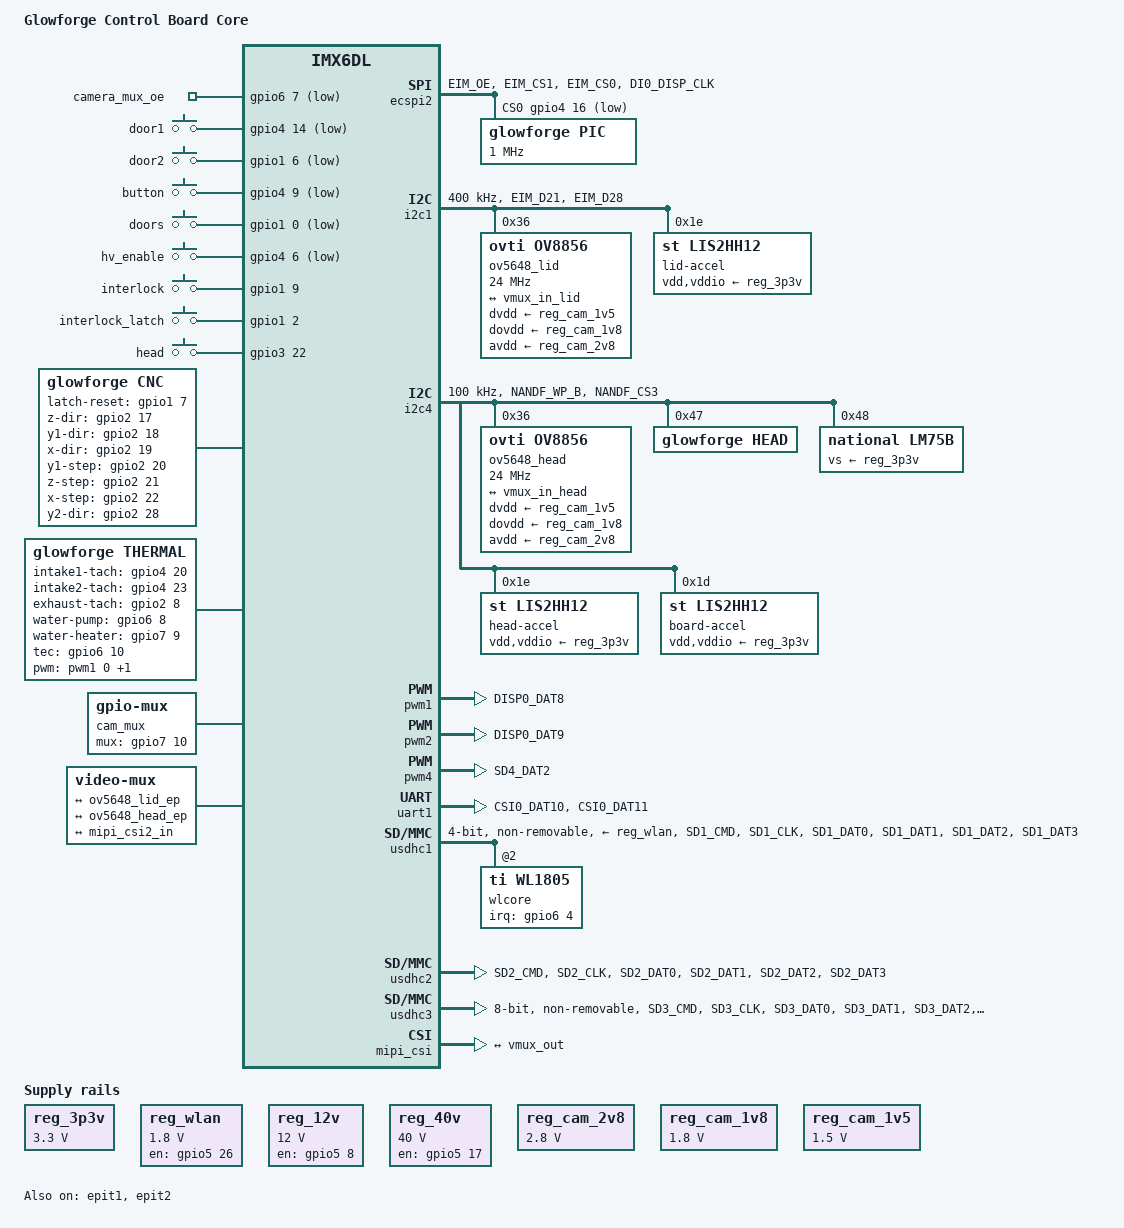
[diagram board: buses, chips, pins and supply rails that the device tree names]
// SPDX-License-Identifier: GPL-2.0
/*
 * Glowforge Control Board: ForgeFIRM device tree for linux-fslc 6.12 (mainline).
 *
 * The factory 4.14 glowforge.dts, carried onto mainline bindings. Peripherals
 * that bind to in-tree drivers: UART console, eMMC/SD, fixed regulators,
 * gpio-leds / gpio-keys, the I2C sensors (st,lis2hh12 x3, national,lm75b), the
 * WL1805 SDIO wifi, and the fan/laser PWMs. The motion path (&epit1/&epit2 and
 * the glowforge,cnc/thermal/pic/head nodes) binds to glowforge.ko through the
 * EPIT and SDMA layer patches; the laser PWM carries the factory
 * fsl,extra-prescale (patch 0009). The cameras run on the mainline ov5648 /
 * ov8856 subdevs behind video-mux, imx6-mipi-csi2 and imx-media, in place of
 * the factory ov5648_mipi driver and mxc_v4l2 nodes. The factory
 * glowforge,imx-pwm-audio buzzer node is not part of ForgeFIRM.
 *
 * Copyright 2020-2026 514 LLC d/b/a OpenGlow
 * Written by Scott Wiederhold
 * Copyright (C) 2015 Glowforge, Inc. <opensource@glowforge.com>
 */
/dts-v1/;

#include <dt-bindings/gpio/gpio.h>
#include <dt-bindings/interrupt-controller/irq.h>
#include "imx6dl.dtsi"
#include "openglow_common.dtsi"

/ {
	model = "Glowforge Control Board Core";
	compatible = "glowforge,imx6dl-glowforge", "fsl,imx6dl";

	/* The Solo has one core: drop the second CPU node of the base include. */
	cpus {
		/delete-node/ cpu@1;
	};

	chosen {
		/*
		 * Fallback only: U-Boot always overwrites bootargs from its
		 * environment (mmcargs carries the real root=). No root= here -
		 * a boot that ever fell through to this would stop at a visible
		 * rootfs panic instead of silently booting a hardcoded slot -
		 * and no quiet: the recovery ladder ends at the serial console,
		 * which must show the early boot output.
		 */
		bootargs = "console=ttymxc0,115200";
	};

	/*
	 * Memory reserved for DMA: a dedicated pool for the cnc SDMA pulse ring
	 * plus the default CMA for camera/IPU/VPU capture buffers - 96 MiB total
	 * on the 512 MB SOM, leaving ~454 MiB to Linux.
	 */
	reserved-memory {
		#address-cells = <1>;
		#size-cells = <1>;
		ranges;

		/*
		 * Dedicated, EXCLUSIVE coherent pool for the cnc SDMA pulse ring
		 * (glowforge,cnc references it via memory-region below; cnc.c calls
		 * of_reserved_mem_device_init()). Pulling the ring from the shared CMA
		 * fails once boot has fragmented it (cma_alloc -EBUSY) because the
		 * out-of-tree module probes late; a non-reusable shared-dma-pool
		 * (which must be no-map) is never touched by movable allocations and,
		 * size-aligned, satisfies dma_alloc_coherent() deterministically.
		 *
		 * Sizing: the grblHAL live feed keeps only a few KB in flight; legacy
		 * cloud mode preloads a job's ENTIRE pulse file into the ring, so the
		 * pool caps cloud-mode job length (~1 MiB per 100 s of 10 kHz
		 * stream; 32 MiB = ~56 min, matching the factory ring). The module's
		 * ring_mb parameter must fit this pool - raise both for longer cloud
		 * jobs. no-map means the whole pool leaves the kernel's memory map at
		 * boot whether the ring uses it or not; on the 512 MB SOM that is
		 * affordable and buys a deterministic allocation.
		 */
		cnc_reserved: cnc-pulsebuf {
			compatible = "shared-dma-pool";
			no-map;
			size = <0x02000000>;      /* 32 MiB */
			alignment = <0x02000000>; /* size-aligned base */
		};

		/*
		 * Reusable CMA for camera/IPU/VPU capture buffers (default area).
		 * A 2592x1944 SBGGR8 frame is ~5 MiB and an 8 MP machine's
		 * 3264x2448 one is ~8 MiB, so the deepest capture queue is ~32 MiB;
		 * 64 MiB leaves room for that plus the VPU JPEG contexts.
		 */
		linux,cma {
			compatible = "shared-dma-pool";
			reusable;
			size = <0x04000000>;      /* 64 MiB */
			linux,cma-default;
		};

		/*
		 * Crash record (pstore/ramoops). PANIC_ON_OOPS plus the ten-second
		 * panic timeout reboot the machine after any oops; the oops text
		 * and the last 256 KiB of console survive here and come back on the
		 * next boot under /sys/fs/pstore. The region is the 1 MiB at the top
		 * of DRAM that the bootloader already holds back from the memory
		 * node (its pstore_addr/pstore_size), so it costs no Linux memory;
		 * no-map keeps it out of the kernel map and pstore maps it uncached.
		 * 32 KiB dump records with 16-byte ECC blocks, so a torn record is
		 * detected instead of trusted.
		 */
		ramoops@2ff00000 {
			compatible = "ramoops";
			reg = <0x2ff00000 0x100000>;
			no-map;
			record-size = <0x8000>;
			console-size = <0x40000>;
			ecc-size = <16>;
		};
	};

	regulators {
		compatible = "simple-bus";

		reg_3p3v: 3p3v {
			compatible = "regulator-fixed";
			regulator-name = "3p3v";
			regulator-min-microvolt = <3300000>;
			regulator-max-microvolt = <3300000>;
			regulator-always-on;
		};

		reg_wlan: wlan-vbus {
			compatible = "regulator-fixed";
			regulator-name = "wlan-en-regulator";
			regulator-min-microvolt = <1800000>;
			regulator-max-microvolt = <1800000>;
			/* WLAN_EN GPIO */
			gpio = <&gpio5 26 0>;
			/* WLAN card specific delay */
			startup-delay-us = <70000>;
			enable-active-high;
		};

		reg_12v: 12v {
			compatible = "regulator-fixed";
			enable-active-high;
			regulator-boot-on;
			gpio = <&gpio5 8 0>;
			pinctrl-names = "default";
			pinctrl-0 = <&pinctrl_12v>;
			regulator-name = "12v";
			regulator-min-microvolt = <12000000>;
			regulator-max-microvolt = <12000000>;
			regulator-always-on;
		};

		reg_40v: 40v {
			compatible = "regulator-fixed";
			enable-active-high;
			gpio = <&gpio5 17 0>;
			pinctrl-names = "default";
			pinctrl-0 = <&pinctrl_40v>;
			regulator-name = "40v";
			regulator-min-microvolt = <40000000>;
			regulator-max-microvolt = <40000000>;
		};

		/*
		 * The 12 V control rail has no userspace consumer node: it is
		 * always-on above, and nothing in the firmware switches it.
		 */
	};

	/* outputs control */
	outputs {
		compatible = "gpio-leds";
		pinctrl-names = "default";
		pinctrl-0 = <&pinctrl_outputs>;

		camera_mux_oe {
			label = "camera_mux_oe";
			gpios = <&gpio6 7 GPIO_ACTIVE_LOW>;
			default-state = "on";
		};
	};

	/* switches */
	switches {
		compatible = "gpio-keys";
		pinctrl-names = "default";
		pinctrl-0 = <&pinctrl_switches>;

		door1 {
			label = "door1";
			gpios = <&gpio4 14 GPIO_ACTIVE_LOW>;
			debounce-interval = <5>;
			linux,code = <0>;
			linux,input-type = <5>; /* EV_SW */
		};
		door2 {
			label = "door2";
			gpios = <&gpio1 6 GPIO_ACTIVE_LOW>;
			debounce-interval = <5>;
			linux,code = <1>;
			linux,input-type = <5>; /* EV_SW */
		};
		button {
			label = "button";
			gpios = <&gpio4 9 GPIO_ACTIVE_LOW>;
			debounce-interval = <20>;
			linux,code = <2>;
			linux,input-type = <5>; /* EV_SW */
		};
		doors {
			label = "doors";
			gpios = <&gpio1 0 GPIO_ACTIVE_LOW>;
			debounce-interval = <5>;
			linux,code = <3>;
			linux,input-type = <5>; /* EV_SW */
		};
		/* Readback of the safety chain's HV_ENABLE output, through the
		 * U24 inverter (the pin carries /HV_ENABLE, hence active-low).
		 * Not an input: it is a monitor of what the chain decided.
		 * The factory design calls this net E-STOP. */
		hv_enable {
			label = "hv_enable";
			gpios = <&gpio4 6 GPIO_ACTIVE_LOW>;
			debounce-interval = <5>;
			linux,code = <4>;
			linux,input-type = <5>; /* EV_SW */
		};
		interlock {
			label = "interlock";
			gpios = <&gpio1 9 GPIO_ACTIVE_HIGH>;
			debounce-interval = <5>;
			linux,code = <5>;
			linux,input-type = <5>; /* EV_SW */
		};
		interlock_latch {
			label = "interlock_latch";
			gpios = <&gpio1 2 GPIO_ACTIVE_HIGH>;
			debounce-interval = <5>;
			linux,code = <6>;
			linux,input-type = <5>; /* EV_SW */
		};
		head {
			label = "head";
			gpios = <&gpio3 22 GPIO_ACTIVE_HIGH>;
			debounce-interval = <60>; /* ignore pulses when head reboots */
			linux,code = <7>;
			linux,input-type = <5>; /* EV_SW */
		};
	};

	/* stepper driver + laser fire (glowforge,cnc -> glowforge.ko) */
	cnc {
		compatible = "glowforge,cnc";
		pinctrl-names = "default";
		pinctrl-0 = <&pinctrl_cnc>;
		memory-region = <&cnc_reserved>; /* dedicated SDMA pulse ring pool */
		/* 40 V stepper rail, exclusive consumer (stepper power on/off).
		 * Mandatory: without this mapping devm_regulator_get_exclusive()
		 * returns -ENODEV on mainline. (The factory 3.14 kernel resolved
		 * the bare name "40v" via the regulator core's lookup-by-name
		 * fallback, which mainline later removed; the factory DTB has no
		 * 40v-supply property either.) */
		40v-supply         = <&reg_40v>;
		latch-reset-gpio   = <&gpio1 7 0>; /* BUTTON_LATCH_RST */
		z-dir-gpio         = <&gpio2 17 0>;
		y1-dir-gpio        = <&gpio2 18 0>;
		x-dir-gpio         = <&gpio2 19 0>;
		y1-step-gpio       = <&gpio2 20 0>;
		z-step-gpio        = <&gpio2 21 0>;
		x-step-gpio        = <&gpio2 22 0>;
		y2-dir-gpio        = <&gpio2 28 0>;
		y2-step-gpio       = <&gpio2 29 0>;
		laser-enable-gpio  = <&gpio2 30 0>;
		laser-on-head-gpio = <&gpio2 31 0>;
		/* laser-safety-chain readbacks (glowforge.ko cnc_get_* attrs) */
		laser-on-gpio      = <&gpio1 5 0>;
		button-latch-gpio  = <&gpio1 3 0>;
		laser-pgood-gpio   = <&gpio4 21 0>;
		interlock-latch-reset-gpio = <&gpio4 5 0>;
		charge-pump-alive-gpio = <&gpio1 8 0>;
		x-mode1-gpio       = <&gpio3 1 0>;
		y1-enable-gpio     = <&gpio3 2 0>;
		x-mode2-gpio       = <&gpio3 3 0>;
		y-mode0-gpio       = <&gpio3 4 0>;
		x-mode0-gpio       = <&gpio3 5 0>;
		x-home-gpio        = <&gpio3 6 0>;
		y-decay-gpio       = <&gpio3 7 0>;
		y1-fault-gpio      = <&gpio3 8 0>;
		y2-home-gpio       = <&gpio3 9 0>;
		y1-home-gpio       = <&gpio3 10 0>;
		y2-enable-gpio     = <&gpio3 11 0>;
		y-mode1-gpio       = <&gpio3 12 0>;
		y-mode2-gpio       = <&gpio3 13 0>;
		y2-fault-gpio      = <&gpio3 14 0>;
		sleep-gpio         = <&gpio3 16 0>;
		z-enable-gpio      = <&gpio3 17 0>; /* NC; unused */
		reset-gpio         = <&gpio3 18 0>;
		x-decay-gpio       = <&gpio3 23 0>;
		charge-pump-gpio   = <&gpio3 24 0>;
		x-fault-gpio       = <&gpio3 26 0>;
		x-enable-gpio      = <&gpio3 27 0>;
		beam-reset-gpio    = <&gpio7 13 0>; /* unused; only v13 and v14 */
		/* 6.12: laser PWM via DT phandle (was laser-pwm=<1>); driver sets the
		 * real period, so the cell value here is a placeholder. */
		pwms               = <&pwm2 0 100000 0>;
		pwm-names          = "laser-pwm";
		timer              = <&epit1>;
		/* SDMA channel 26; script origin 0xF00 (32-bit words) = halfword
		 * 7680. The factory used 0xe00 (halfword 7168), which the NXP
		 * sdma-imx6q.bin RAM firmware (v3.6: halfwords 6144-7520) overlaps;
		 * whichever loaded last would silently corrupt the other. SDMA RAM
		 * spans halfwords 4096-8191 (8 KB; IMX6SDLRM SDMA memory map: RAM =
		 * words 0x0800-0x0FFF), so the script at 7680-7819 clears that
		 * firmware with 372 halfwords of RAM headroom left above it, and
		 * glowforge.ko verifies/reloads the script before every run. The
		 * engine runs its ROM scripts by design: the built-in imx-sdma probes
		 * before the rootfs is mounted, every SDMA client on this board uses
		 * ROM scripts (the pulse script is the module's own), and the image
		 * ships no SDMA RAM firmware. */
		sdma-params        = <26 0xF00>;
	};

	/* coolant/fans/TEC (glowforge,thermal -> glowforge.ko) */
	thermal {
		compatible = "glowforge,thermal";
		pinctrl-names = "default";
		pinctrl-0 = <&pinctrl_thermal>;
		intake1-tach-gpio = <&gpio4 20 0>;
		intake2-tach-gpio = <&gpio4 23 0>;
		exhaust-tach-gpio = <&gpio2 8 0>;
		water-pump-gpio   = <&gpio6 8 0>;
		water-heater-gpio = <&gpio7 9 0>;
		tec-gpio          = <&gpio6 10 0>;
		/* 6.12: fan PWMs via DT phandles (were intake-pwm=<0>, exhaust-pwm=<2>);
		 * 25 kHz => 40000 ns. */
		pwms              = <&pwm1 0 40000 0>, <&pwm4 0 40000 0>;
		pwm-names         = "intake-pwm", "exhaust-pwm";
	};

	/* ===== Cameras (lid + head sensors behind the CAM_SEL MIPI switch) =====
	 * Replaces the factory v4l2_int_device ov5648_mipi driver with the mainline
	 * ov5648 subdev + imx6 IPU/MIPI-CSI2 (imx-media) pipeline. The factory
	 * CAM_SEL GPIO selects which sensor's MIPI CSI-2 stream reaches the shared
	 * imx6-mipi-csi2 receiver; modeled with the mainline video-mux.
	 *
	 * Verified against the factory firmware DTB (imx6dl-glowforge-v20): the
	 * sensor xvclk is a 24 MHz fixed oscillator; CSI-2 uses 2 data lanes;
	 * CAM_SEL is gpio7-10 active-high; the mux output-enable is gpio6-7
	 * active-low (default on); there are no per-sensor reset/powerdown GPIOs
	 * (the rails are always-on and the sensors are gated via the mux OE). The
	 * dvdd/dovdd/avdd fixed regulators below are not in the factory tree but the
	 * mainline ov5648 driver requires them, so they are modeled always-on.
	 *
	 * Both sensors are bound via a dual "ovti,ov8856","ovti,ov5648" compatible
	 * (matching the factory DTB) so one image covers standard (5 MP OV5648) and
	 * "HD" (8 MP OV8856) units; the driver that matches the chip-id wins (the
	 * other one's probe fails on the chip-id read and the device is offered to
	 * the next matching driver).
	 *
	 * The endpoint link-frequencies list must contain every entry of the bound
	 * driver's menu for the lane count in use: ov8856_get_hwcfg rejects the
	 * endpoint outright if any of its 2-lane menu {720, 360} MHz is missing,
	 * while ov5648 only needs the rate a given mode actually uses. Hence the
	 * four values below - ov5648 {210, 168} MHz plus ov8856 {720, 360} MHz.
	 *
	 * OV8856 note: the sensor's RAW10 full-resolution 2-lane mode runs the
	 * link at 720 MHz (1.44 Gbps/lane) and the i.MX6 CSI-2 D-PHY tops out at
	 * 1 Gbps/lane, so imx6-mipi-csi2 refuses to program it. Full resolution
	 * is reached instead through the RAW8 3264x2448 mode, which carries the
	 * frame at 360 MHz like the binned modes do; 720 MHz stays in the list
	 * only because ov8856_get_hwcfg checks the whole 2-lane menu. The 24 MHz
	 * xvclk (the board's oscillator, per the factory DTB) is handled by the
	 * ov8856 PLL retune patch; without it the driver would run the link 25%
	 * above the frequency it publishes.
	 */
	clk_cam_xvclk: clock-cam-xvclk {
		compatible = "fixed-clock";
		#clock-cells = <0>;
		clock-frequency = <24000000>; /* 24 MHz sensor oscillator (per factory DTB) */
	};

	reg_cam_2v8: regulator-cam-2v8 {
		compatible = "regulator-fixed";
		regulator-name = "cam_avdd_2v8";
		regulator-min-microvolt = <2800000>;
		regulator-max-microvolt = <2800000>;
		regulator-always-on;
	};

	reg_cam_1v8: regulator-cam-1v8 {
		compatible = "regulator-fixed";
		regulator-name = "cam_dovdd_1v8";
		regulator-min-microvolt = <1800000>;
		regulator-max-microvolt = <1800000>;
		regulator-always-on;
	};

	reg_cam_1v5: regulator-cam-1v5 {
		compatible = "regulator-fixed";
		regulator-name = "cam_dvdd_1v5";
		regulator-min-microvolt = <1500000>;
		regulator-max-microvolt = <1500000>;
		regulator-always-on;
	};

	/* Factory CAM_SEL line (gpio7 10): 0 = lid (A), 1 = head (B). */
	cam_mux: mux-controller {
		compatible = "gpio-mux";
		#mux-control-cells = <0>;
		pinctrl-names = "default";
		pinctrl-0 = <&pinctrl_cam_mux>;
		mux-gpios = <&gpio7 10 GPIO_ACTIVE_HIGH>;
	};

	video-mux {
		compatible = "video-mux";
		mux-controls = <&cam_mux>;
		#address-cells = <1>;
		#size-cells = <0>;

		port@0 {
			reg = <0>;
			vmux_in_lid: endpoint {
				remote-endpoint = <&ov5648_lid_ep>;
				clock-lanes = <0>;
				data-lanes = <1 2>;
			};
		};
		port@1 {
			reg = <1>;
			vmux_in_head: endpoint {
				remote-endpoint = <&ov5648_head_ep>;
				clock-lanes = <0>;
				data-lanes = <1 2>;
			};
		};
		port@2 {
			reg = <2>;
			vmux_out: endpoint {
				remote-endpoint = <&mipi_csi2_in>;
				clock-lanes = <0>;
				data-lanes = <1 2>;
			};
		};
	};
};

&ecspi2 {
	fsl,spi-num-chipselects = <1>;
	/* PIC /CS is active-low. The 4.14 SPI core ignored the cs-gpios cell flag
	 * and always treated GPIO chip-selects as active-low; since the gpiod
	 * conversion (~v5.1) the core honors the flag, so an active-high cell (0)
	 * now drives CS the wrong way and the PIC reads back 0x0000. */
	cs-gpios = <&gpio4 16 GPIO_ACTIVE_LOW>;
	pinctrl-names = "default";
	pinctrl-0 = <&pinctrl_ecspi2>;
	/* PIO only. The PIC transactions are 3 bytes and spi-imx would use DMA
	 * from 64 bytes up; without the SoC's dmas the controller holds no SDMA
	 * channels and the pulse ring stays the SDMA's only client, which the
	 * step-timing margin assumes. (ECSPI TX DMA would also need a RAM SDMA
	 * script the image does not ship.) The engine's ipg/ahb clocks are then
	 * held by glowforge.ko alone (sdma_get_channel in the SDMA API patch);
	 * no other client keeps them on. */
	/delete-property/ dmas;
	/delete-property/ dma-names;
	status = "okay";

	/* PIC sensor MCU (glowforge,pic -> glowforge.ko) */
	pic: spi@0 {
		compatible = "glowforge,pic";
		/* Datasheet indicates max SCLK frequency is about 3.44MHz */
		spi-max-frequency = <1000000>;
		reg = <0>;
	};
};

/* Lid I2C Bus */
&i2c1 {
	clock-frequency = <400000>;
	pinctrl-names = "default";
	pinctrl-0 = <&pinctrl_i2c1>;
	status = "okay";

	/* LID CAMERA: OV5648 (5 MP) or OV8856 (8 MP, "HD" units) -> video-mux in 0.
	 * Dual compatible per the factory DTB: ov8856 is tried first and falls back
	 * to ov5648 on I2C chip-id mismatch. */
	ov5648_lid: camera@36 {
		compatible = "ovti,ov8856", "ovti,ov5648";
		reg = <0x36>;
		clocks = <&clk_cam_xvclk>;
		clock-names = "xvclk";
		clock-frequency = <24000000>; /* ov8856 reads this property directly */
		dvdd-supply = <&reg_cam_1v5>;
		dovdd-supply = <&reg_cam_1v8>;
		avdd-supply = <&reg_cam_2v8>;
		port {
			ov5648_lid_ep: endpoint {
				remote-endpoint = <&vmux_in_lid>;
				clock-lanes = <0>;
				data-lanes = <1 2>;
				bus-type = <4>; /* MEDIA_BUS_TYPE_CSI2_DPHY */
				/* union of both drivers' 2-lane menus:
				 * ov5648 {210,168} + ov8856 {720,360} MHz */
				link-frequencies = /bits/ 64 <168000000 210000000 360000000 720000000>;
			};
		};
	};

	/* LID ACCELEROMETER
	 * Supplies and mount-matrix are declared to keep the st_accel probe
	 * quiet: the 3.3 V rail models the harness feed, and the identity
	 * matrix is explicit because consumers work in raw counts. */
	lid-accel@1e {
		reg = <0x1e>;
		compatible = "st,lis2hh12";
		vdd-supply = <&reg_3p3v>;
		vddio-supply = <&reg_3p3v>;
		mount-matrix = "1", "0", "0",
			       "0", "1", "0",
			       "0", "0", "1";
	};
};

/* No consumer. */
&i2c2 {
	clock-frequency = <100000>;
	pinctrl-names = "default";
	pinctrl-0 = <&pinctrl_i2c2>;
	status = "disabled";
};

/* Head I2C */
&i2c4 {
	clock-frequency = <100000>;
	pinctrl-names = "default";
	pinctrl-0 = <&pinctrl_i2c4>;
	status = "okay";

	/* HEAD CAMERA: OV5648 (5 MP) or OV8856 (8 MP, "HD" units) -> video-mux in 1.
	 * Dual compatible per the factory DTB (see lid camera above). */
	ov5648_head: camera@36 {
		compatible = "ovti,ov8856", "ovti,ov5648";
		reg = <0x36>;
		clocks = <&clk_cam_xvclk>;
		clock-names = "xvclk";
		clock-frequency = <24000000>; /* ov8856 reads this property directly */
		dvdd-supply = <&reg_cam_1v5>;
		dovdd-supply = <&reg_cam_1v8>;
		avdd-supply = <&reg_cam_2v8>;
		port {
			ov5648_head_ep: endpoint {
				remote-endpoint = <&vmux_in_head>;
				clock-lanes = <0>;
				data-lanes = <1 2>;
				bus-type = <4>; /* MEDIA_BUS_TYPE_CSI2_DPHY */
				/* union of both drivers' 2-lane menus:
				 * ov5648 {210,168} + ov8856 {720,360} MHz */
				link-frequencies = /bits/ 64 <168000000 210000000 360000000 720000000>;
			};
		};
	};

	/* Head MCU (glowforge,head -> glowforge.ko) */
	head@47 {
		reg = <0x47>;
		compatible = "glowforge,head";
	};

	/* INTERCONNECT TEMP SENSOR */
	lm75b@48 {
		reg = <0x48>;
		compatible = "national,lm75b";
		vs-supply = <&reg_3p3v>;
	};
	/* HEAD ACCELEROMETER */
	head-accel@1e {
		reg = <0x1e>;
		compatible = "st,lis2hh12";
		vdd-supply = <&reg_3p3v>;
		vddio-supply = <&reg_3p3v>;
		mount-matrix = "1", "0", "0",
			       "0", "1", "0",
			       "0", "0", "1";
	};
	/* CONTROL BOARD ACCELEROMETER */
	board-accel@1d {
		reg = <0x1d>;
		compatible = "st,lis2hh12";
		vdd-supply = <&reg_3p3v>;
		vddio-supply = <&reg_3p3v>;
		mount-matrix = "1", "0", "0",
			       "0", "1", "0",
			       "0", "0", "1";
	};
};

&iomuxc {
	pinctrl-names = "default";
	pinctrl-0 = <&pinctrl_hog>;

	glowforge {
		pinctrl_hog: hog {
			fsl,pins = <
				MX6QDL_PAD_CSI0_DAT8__GPIO5_IO26  WEAK_PULLDOWN /* WL_EN */
				MX6QDL_PAD_CSI0_DAT18__GPIO6_IO04 WEAK_PULLDOWN /* WL_IRQ */
			>;
		};

		pinctrl_uart1: glowforge_uart1 {
			fsl,pins = <
				MX6QDL_PAD_CSI0_DAT10__UART1_TX_DATA UART_PAD_CTRL
				MX6QDL_PAD_CSI0_DAT11__UART1_RX_DATA UART_PAD_CTRL
			>;
		};

		pinctrl_ecspi2: glowforge_ecspi2 {
			fsl,pins = <
				MX6QDL_PAD_EIM_OE__ECSPI2_MISO      SPI_PAD_CTRL
				MX6QDL_PAD_EIM_CS1__ECSPI2_MOSI     SPI_PAD_CTRL
				MX6QDL_PAD_EIM_CS0__ECSPI2_SCLK     (SPI_PAD_CTRL | PAD_CTL_PUS_100K_DOWN)
				MX6QDL_PAD_DI0_DISP_CLK__GPIO4_IO16 WEAK_PULLUP
			>;
		};

		pinctrl_cnc: glowforge_cnc {
			fsl,pins = <
				MX6QDL_PAD_GPIO_7__GPIO1_IO07	   WEAK_PULLUP	/* BUTTON_LATCH_RST */
				MX6QDL_PAD_EIM_A21__GPIO2_IO17   WEAK_PULLUP	/* STEP_Z_DIR */
				MX6QDL_PAD_EIM_A20__GPIO2_IO18   WEAK_PULLUP	/* Y1_DIR */
				MX6QDL_PAD_EIM_A19__GPIO2_IO19   WEAK_PULLUP	/* X_DIR */
				MX6QDL_PAD_EIM_A18__GPIO2_IO20   WEAK_PULLUP	/* Y1_STEP */
				MX6QDL_PAD_EIM_A17__GPIO2_IO21   WEAK_PULLUP	/* STEP_Z_STEP */
				MX6QDL_PAD_EIM_A16__GPIO2_IO22   WEAK_PULLUP	/* X_STEP */
				MX6QDL_PAD_EIM_EB0__GPIO2_IO28   WEAK_PULLUP	/* Y2_DIR */
				MX6QDL_PAD_EIM_EB1__GPIO2_IO29   WEAK_PULLUP	/* Y2_STEP */
				MX6QDL_PAD_EIM_EB2__GPIO2_IO30   (WEAK_PULLUP | MUX_MODE_SION)	/* LASER_ENABLE, SION enabled */
				MX6QDL_PAD_EIM_EB3__GPIO2_IO31   WEAK_PULLUP	/* LASER_ON_HEAD */
				MX6QDL_PAD_EIM_DA1__GPIO3_IO01   (WEAK_PULLUP | MUX_MODE_SION)	/* X_MODE1, SION enabled */
				MX6QDL_PAD_EIM_DA2__GPIO3_IO02   WEAK_PULLUP	/* Y1_ENBL */
				MX6QDL_PAD_EIM_DA3__GPIO3_IO03   (WEAK_PULLUP | MUX_MODE_SION)	/* X_MODE2, SION enabled */
				MX6QDL_PAD_EIM_DA4__GPIO3_IO04   (WEAK_PULLUP | MUX_MODE_SION)	/* Y_MODE0, SION enabled */
				MX6QDL_PAD_EIM_DA5__GPIO3_IO05   (WEAK_PULLUP | MUX_MODE_SION)	/* X_MODE0, SION enabled */
				MX6QDL_PAD_EIM_DA6__GPIO3_IO06   WEAK_PULLUP	/* X_HOME, no pulldown or pullup */
				MX6QDL_PAD_EIM_DA7__GPIO3_IO07   (WEAK_PULLUP | MUX_MODE_SION)	/* Y_DECAY, SION enabled */
				MX6QDL_PAD_EIM_DA8__GPIO3_IO08   WEAK_PULLUP	/* Y1_FAULT */
				MX6QDL_PAD_EIM_DA9__GPIO3_IO09   WEAK_PULLUP	/* Y2_HOME */
				MX6QDL_PAD_EIM_DA10__GPIO3_IO10  WEAK_PULLUP	/* Y1_HOME */
				MX6QDL_PAD_EIM_DA11__GPIO3_IO11  WEAK_PULLUP	/* Y2_ENBL */
				MX6QDL_PAD_EIM_DA12__GPIO3_IO12  (WEAK_PULLUP | MUX_MODE_SION)	/* Y_MODE1, SION enabled */
				MX6QDL_PAD_EIM_DA13__GPIO3_IO13  (WEAK_PULLUP | MUX_MODE_SION)	/* Y_MODE2, SION enabled */
				MX6QDL_PAD_EIM_DA14__GPIO3_IO14  WEAK_PULLUP	/* Y2_FAULT */
				MX6QDL_PAD_EIM_D16__GPIO3_IO16   WEAK_PULLUP	/* STEP_SLEEP */
				MX6QDL_PAD_EIM_D18__GPIO3_IO18   WEAK_PULLUP	/* /STEP_RESET */
				MX6QDL_PAD_EIM_D23__GPIO3_IO23   (WEAK_PULLUP | MUX_MODE_SION)	/* X_DECAY, SION enabled */
				MX6QDL_PAD_EIM_D24__GPIO3_IO24   (WEAK_PULLUP | MUX_MODE_SION)	/* CHARGE_PUMP, SION enabled */
				MX6QDL_PAD_EIM_D26__GPIO3_IO26   WEAK_PULLUP	/* /X_FAULT, no pulldown or pullup */
				MX6QDL_PAD_EIM_D27__GPIO3_IO27   WEAK_PULLUP	/* X_ENBL */
				MX6QDL_PAD_KEY_ROW0__GPIO4_IO07  WEAK_PULLUP	/* !BEAM_DET_TIMEOUT */
				MX6QDL_PAD_KEY_COL1__GPIO4_IO08  WEAK_PULLUP	/* !BEAM_DET_XOR */
				MX6QDL_PAD_KEY_COL2__GPIO4_IO10  WEAK_PULLUP	/* BEAM_DET_ERR */
				MX6QDL_PAD_KEY_ROW4__GPIO4_IO15  WEAK_PULLUP	/* !BEAM_DET */
				MX6QDL_PAD_GPIO_18__GPIO7_IO13   WEAK_PULLUP	/* BEAM_DET_LATCH_RST */
				/* laser-safety-chain readback inputs */
				MX6QDL_PAD_GPIO_3__GPIO1_IO03     WEAK_PULLUP	/* BUTTON_LATCH */
				MX6QDL_PAD_GPIO_5__GPIO1_IO05     WEAK_PULLUP	/* LASER_ON */
				MX6QDL_PAD_GPIO_19__GPIO4_IO05    (PAD_CTL_HYS | PAD_CTL_SPEED_MED | PAD_CTL_DSE_40ohm | MUX_MODE_SION)	/* INTERLOCK_LATCH_RESET, no pull, SION */
				MX6QDL_PAD_DISP0_DAT0__GPIO4_IO21 (PAD_CTL_HYS | PAD_CTL_SPEED_MED | PAD_CTL_DSE_40ohm)	/* LASER_PGOOD, no pull */
				MX6QDL_PAD_GPIO_8__GPIO1_IO08     (PAD_CTL_HYS | PAD_CTL_SPEED_MED | PAD_CTL_DSE_40ohm)	/* !CP_WD_ALIVE (inverted one-shot Q), no pull */
			>;
		};

		pinctrl_thermal: glowforge_thermal {
			fsl,pins = <
				MX6QDL_PAD_DI0_PIN4__GPIO4_IO20    WEAK_PULLUP	/* FAN_TACH_INTAKE1 */
				MX6QDL_PAD_DISP0_DAT2__GPIO4_IO23  WEAK_PULLUP	/* FAN_TACH_INTAKE2 */
				MX6QDL_PAD_NANDF_ALE__GPIO6_IO08   (WEAK_PULLUP | MUX_MODE_SION)	/* WATER_ON, SION enabled */
				MX6QDL_PAD_NANDF_RB0__GPIO6_IO10   (WEAK_PULLUP | MUX_MODE_SION)	/* TEC_ON, SION enabled */
				MX6QDL_PAD_SD4_CMD__GPIO7_IO09     (WEAK_PULLUP | MUX_MODE_SION)	/* WATER_HEATER_ON, SION enabled */
				MX6QDL_PAD_SD4_DAT0__GPIO2_IO08    WEAK_PULLUP	/* FAN_TACH_EXHAUST */
			>;
		};

		pinctrl_12v: glowforge_12v {
			fsl,pins = <MX6QDL_PAD_DISP0_DAT14__GPIO5_IO08 WEAK_PULLUP>;
		};

		pinctrl_40v: glowforge_40v {
			fsl,pins = <MX6QDL_PAD_DISP0_DAT23__GPIO5_IO17 WEAK_PULLUP>;
		};

		pinctrl_i2c1: glowforge_i2c1 {
			fsl,pins = <
				MX6QDL_PAD_EIM_D21__I2C1_SCL   I2C_PAD_CTRL	/* SION enabled */
				MX6QDL_PAD_EIM_D28__I2C1_SDA   I2C_PAD_CTRL	/* SION enabled */
			>;
		};

		/* The camera-select line is muxed by the node that drives it. */
		pinctrl_cam_mux: glowforge_cam_mux {
			fsl,pins = <
				MX6QDL_PAD_SD4_CLK__GPIO7_IO10 WEAK_PULLUP	/* CAM_SEL */
			>;
		};

		pinctrl_i2c2: glowforge_i2c2 {
			fsl,pins = <
				MX6QDL_PAD_KEY_COL3__I2C2_SCL   I2C_PAD_CTRL	/* SION enabled */
				MX6QDL_PAD_KEY_ROW3__I2C2_SDA   I2C_PAD_CTRL	/* SION enabled */
			>;
		};

		pinctrl_i2c4: glowforge_i2c4 {
			fsl,pins = <
				MX6QDL_PAD_NANDF_WP_B__I2C4_SCL I2C_PAD_CTRL	/* OD, SION enabled */
				MX6QDL_PAD_NANDF_CS3__I2C4_SDA  I2C_PAD_CTRL	/* OD, SION enabled */
			>;
		};

		pinctrl_usdhc1: glowforge_usdhc1 {
			fsl,pins = <
				MX6QDL_PAD_SD1_CMD__SD1_CMD    USDHC_SDIO_PAD_CTRL
				MX6QDL_PAD_SD1_CLK__SD1_CLK    USDHC_SDIO_CLK_PAD_CTRL
				MX6QDL_PAD_SD1_DAT0__SD1_DATA0 USDHC_SDIO_PAD_CTRL
				MX6QDL_PAD_SD1_DAT1__SD1_DATA1 USDHC_SDIO_PAD_CTRL
				MX6QDL_PAD_SD1_DAT2__SD1_DATA2 USDHC_SDIO_PAD_CTRL
				MX6QDL_PAD_SD1_DAT3__SD1_DATA3 USDHC_SDIO_PAD_CTRL
			>;
		};

		pinctrl_usdhc2: glowforge_usdhc2 {
			fsl,pins = <
				MX6QDL_PAD_SD2_CMD__SD2_CMD    USDHC_PAD_CTRL
				MX6QDL_PAD_SD2_CLK__SD2_CLK    USDHC_CLK_PAD_CTRL
				MX6QDL_PAD_SD2_DAT0__SD2_DATA0 USDHC_PAD_CTRL
				MX6QDL_PAD_SD2_DAT1__SD2_DATA1 USDHC_PAD_CTRL
				MX6QDL_PAD_SD2_DAT2__SD2_DATA2 USDHC_PAD_CTRL
				MX6QDL_PAD_SD2_DAT3__SD2_DATA3 0x13059	/* 100k pull-down, as the factory tree */
			>;
		};

		pinctrl_usdhc3: usdhc3grp {
			fsl,pins = <
				MX6QDL_PAD_SD3_CMD__SD3_CMD    USDHC_PAD_CTRL
				MX6QDL_PAD_SD3_CLK__SD3_CLK    USDHC_CLK_PAD_CTRL
				MX6QDL_PAD_SD3_DAT0__SD3_DATA0 USDHC_PAD_CTRL
				MX6QDL_PAD_SD3_DAT1__SD3_DATA1 USDHC_PAD_CTRL
				MX6QDL_PAD_SD3_DAT2__SD3_DATA2 USDHC_PAD_CTRL
				MX6QDL_PAD_SD3_DAT3__SD3_DATA3 USDHC_PAD_CTRL
				MX6QDL_PAD_SD3_DAT4__SD3_DATA4 USDHC_PAD_CTRL
				MX6QDL_PAD_SD3_DAT5__SD3_DATA5 USDHC_PAD_CTRL
				MX6QDL_PAD_SD3_DAT6__SD3_DATA6 USDHC_PAD_CTRL
				MX6QDL_PAD_SD3_DAT7__SD3_DATA7 USDHC_PAD_CTRL
				MX6QDL_PAD_SD3_RST__SD3_RESET  WEAK_PULLUP
			>;
		};

		pinctrl_pwm1: glowforge_pwm1 {
			fsl,pins = <
				MX6QDL_PAD_DISP0_DAT8__PWM1_OUT 0x1b0b8	/* FAN_PWM_INTAKE, strong drive */
			>;
		};

		pinctrl_pwm2: glowforge_pwm2 {
			fsl,pins = <
				MX6QDL_PAD_DISP0_DAT9__PWM2_OUT 0x1b0b8	/* LASER_PWM, strong drive */
			>;
		};

		pinctrl_pwm4: glowforge_pwm4 {
			fsl,pins = <
				MX6QDL_PAD_SD4_DAT2__PWM4_OUT 0x1b0b8	/* FAN_PWM_EXHAUST, strong drive */
			>;
		};

		pinctrl_switches: glowforge_switches {
			fsl,pins = <
				MX6QDL_PAD_KEY_COL4__GPIO4_IO14    0x100b0	/* !DOOR_SW1 */
				MX6QDL_PAD_GPIO_6__GPIO1_IO06      0x100b0	/* !DOOR_SW2 */
				MX6QDL_PAD_KEY_ROW1__GPIO4_IO09    0x100b0	/* !PAUSE (button pressed) */
				MX6QDL_PAD_GPIO_0__GPIO1_IO00      0x100b0	/* !DOOR_SW */
				MX6QDL_PAD_KEY_COL0__GPIO4_IO06    0x100b0	/* /HV_ENABLE readback (factory: ESTOP) */
				MX6QDL_PAD_GPIO_9__GPIO1_IO09      0x100b0	/* INTERLOCK */
				MX6QDL_PAD_GPIO_2__GPIO1_IO02      0x100b0	/* INTERLOCK_LATCH, no pulldown or pullup */
				MX6QDL_PAD_EIM_D22__GPIO3_IO22     WEAK_PULLUP	/* HEAD_IRQ, pullup */
			>;
		};

		pinctrl_outputs: glowforge_outputs {
			fsl,pins = <
				MX6QDL_PAD_NANDF_CLE__GPIO6_IO07  WEAK_PULLUP	/* CAM_!OE */
			>;
		};
	};
};

&pwm1 {
	pinctrl-names = "default";
	pinctrl-0 = <&pinctrl_pwm1>;
	status = "okay";
};

&pwm2 {
	pinctrl-names = "default";
	pinctrl-0 = <&pinctrl_pwm2>;
	/* LASER_PWM carrier: glowforge.ko programs a ~1925 ns period so the
	 * SDMA script can write raw 7-bit power levels straight into PWMSAR;
	 * the extra prescaler (0009 patch, factory 1001 mechanism) stretches
	 * the output to ~25 us, about 40 kHz, the carrier the laser PSU expects,
	 * without changing the valid duty range. NOT audio-related: the factory
	 * 4.14 tree carried this exact property on the laser PWM. */
	fsl,extra-prescale = <13>;
	status = "okay";
};

&pwm4 {
	pinctrl-names = "default";
	pinctrl-0 = <&pinctrl_pwm4>;
	status = "okay";
};

&uart1 {
	pinctrl-names = "default";
	pinctrl-0 = <&pinctrl_uart1>;
	status = "okay";
};

/* No consumer. Left disabled so the pulse ring stays the SDMA's only
 * client: the imx serial driver would take two SDMA channels. */
&uart2 {
	status = "disabled";
};

/* WL1805 */
&usdhc1 {
	pinctrl-names = "default";
	pinctrl-0 = <&pinctrl_usdhc1>;
	bus-width = <4>;
	no-1-8-v;
	keep-power-in-suspend;
	enable-sdio-wakeup;
	vmmc-supply = <&reg_wlan>;
	non-removable;
	cap-power-off-card;
	status = "okay";
	#address-cells = <1>;
	#size-cells = <0>;
	wlcore: wlcore@2 {
		compatible = "ti,wl1805";
		reg = <2>;
		interrupt-parent = <&gpio6>;
		interrupts = <4 IRQ_TYPE_EDGE_RISING>;
	};
};

/* SD card */
&usdhc2 {
	pinctrl-names = "default";
	pinctrl-0 = <&pinctrl_usdhc2>;
	broken-cd;
	no-1-8-v;
	keep-power-in-suspend;
	enable-sdio-wakeup;
	status = "okay";
};

/* eMMC */
&usdhc3 {
	pinctrl-names = "default";
	pinctrl-0 = <&pinctrl_usdhc3>;
	bus-width = <8>;
	non-removable;
	no-1-8-v;
	keep-power-in-suspend;
	status = "okay";
};

/*
 * EPIT timers: motion path. imx6qdl.dtsi defines the epit1/epit2 nodes
 * (reg + interrupts) but no compatible; bind them to the ForgeFIRM EPIT API
 * driver (CONFIG_MXC_EPIT_API). These clock the SDMA step-stream playback.
 */
&epit1 {
	compatible = "fsl,imx6qdl-epit";
	id = <0>;
	clocks = <&clks IMX6QDL_CLK_EPIT1>;
	clock-names = "epit1";
	sdma-event = <16>;
	status = "okay";
};

&epit2 {
	compatible = "fsl,imx6qdl-epit";
	id = <1>;
	clocks = <&clks IMX6QDL_CLK_EPIT2>;
	clock-names = "epit2";
	sdma-event = <9>; /* note: requires bit 5 set in IOMUXC_GPR0 */
	sdma-event-select = <&gpr 0 0x20 0x20>;
	status = "okay";
};

/* MIPI CSI-2 receiver: input is the video-mux output (selected lid/head). */
&mipi_csi {
	status = "okay";

	port@0 {
		reg = <0>;
		mipi_csi2_in: endpoint {
			remote-endpoint = <&vmux_out>;
			clock-lanes = <0>;
			data-lanes = <1 2>;
		};
	};
};
/* (imx6dl.dtsi already wires mipi_csi virtual channels -> the IPU CSI muxes.) */

/*
 * SoC blocks the dtsi leaves enabled that this board does not use. No USB
 * controller is enabled, so the two USB PHYs, their dummy regulators, and
 * usbmisc have nothing to serve; the audio sample-rate converter has no
 * audio path behind it.
 */
&asrc {
	status = "disabled";
};

&usbphy1 {
	status = "disabled";
};

&usbphy2 {
	status = "disabled";
};

&usbphynop1 {
	status = "disabled";
};

&usbphynop2 {
	status = "disabled";
};

&usbmisc {
	status = "disabled";
};
